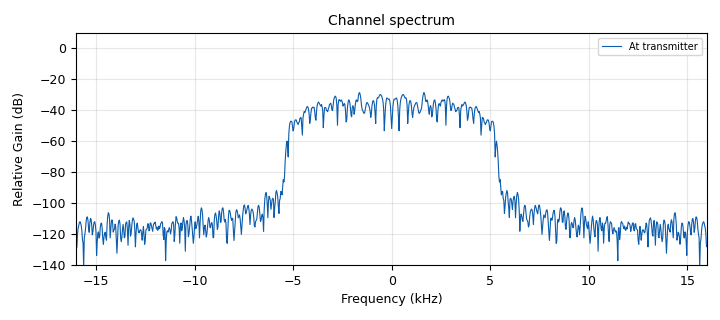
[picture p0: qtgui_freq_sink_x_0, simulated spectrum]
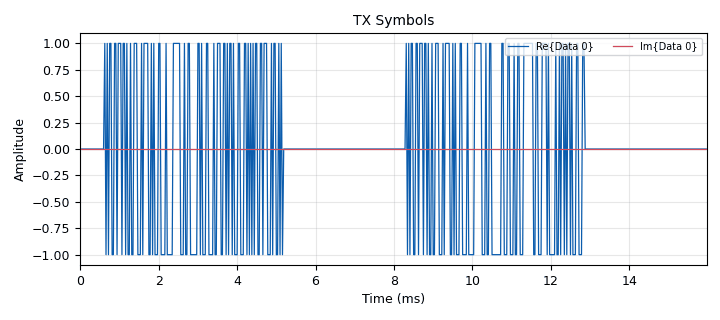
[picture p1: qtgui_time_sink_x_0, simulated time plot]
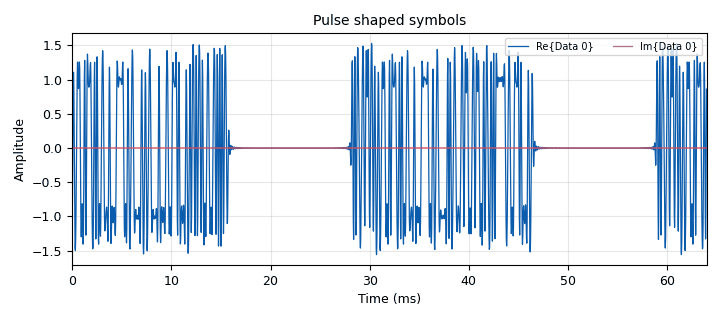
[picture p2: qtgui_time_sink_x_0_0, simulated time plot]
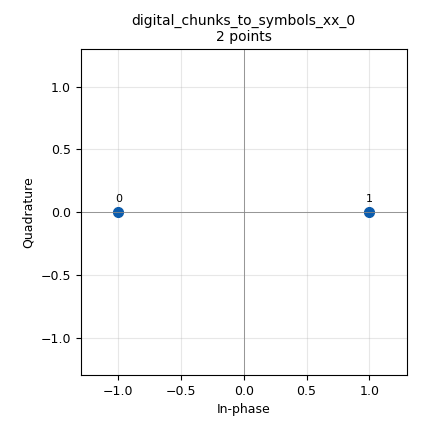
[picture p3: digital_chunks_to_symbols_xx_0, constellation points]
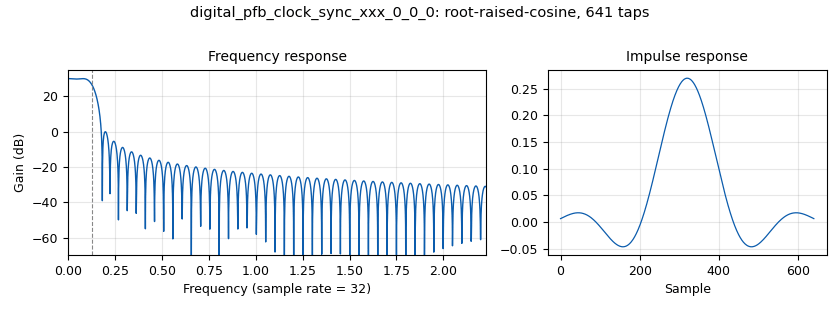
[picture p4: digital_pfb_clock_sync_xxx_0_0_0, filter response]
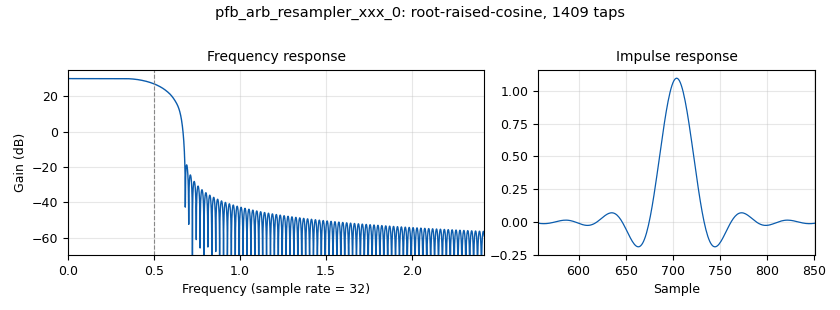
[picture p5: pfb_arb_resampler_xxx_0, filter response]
<?xml version='1.0' encoding='utf-8'?>
<?grc format='1' created='3.7.11'?>
<flow_graph>
<block>
<key>options</key>
<param><key>id</key><value>chain_custom</value></param>
<param><key>category</key><value>Custom</value></param>
<param><key>generate_options</key><value>qt_gui</value></param>
</block>
<block>
<key>variable</key>
<param><key>id</key><value>constel_header</value></param>
<param><key>value</key><value>digital.constellation_bpsk()</value></param>
</block>
<block>
<key>variable</key>
<param><key>id</key><value>constel_payload</value></param>
<param><key>value</key><value>digital.constellation_bpsk()</value></param>
</block>
<block>
<key>variable</key>
<param><key>id</key><value>eb</value></param>
<param><key>value</key><value>0.35</value></param>
</block>
<block>
<key>variable_qtgui_range</key>
<param><key>id</key><value>freq_offset</value></param>
<param><key>value</key><value>0</value></param>
<param><key>gui_hint</key><value>21,0,1,1</value></param>
<param><key>label</key><value>Frequency Offset</value></param>
<param><key>orient</key><value>Qt.Horizontal</value></param>
<param><key>start</key><value>-0.1</value></param>
<param><key>step</key><value>0.0001</value></param>
<param><key>stop</key><value>0.1</value></param>
<param><key>widget</key><value>slider</value></param>
</block>
<block>
<key>variable_qtgui_label</key>
<param><key>id</key><value>freq_offset_label</value></param>
<param><key>value</key><value>freq_offset</value></param>
<param><key>gui_hint</key><value>21,1,1,1</value></param>
<param><key>label</key><value>Freq offset label</value></param>
<param><key>type</key><value>real</value></param>
</block>
<block>
<key>variable</key>
<param><key>id</key><value>header_formatter</value></param>
<param><key>value</key><value>digital.packet_header_default(32/constel_header.bits_per_symbol(), "packet_len", "packet_num", constel_header.bits_per_symbol())</value></param>
</block>
<block>
<key>variable</key>
<param><key>id</key><value>nfilts</value></param>
<param><key>value</key><value>32</value></param>
</block>
<block>
<key>variable_qtgui_range</key>
<param><key>id</key><value>noise</value></param>
<param><key>value</key><value>0.01</value></param>
<param><key>gui_hint</key><value>20,0,1,1</value></param>
<param><key>label</key><value>Noise</value></param>
<param><key>orient</key><value>Qt.Horizontal</value></param>
<param><key>start</key><value>0</value></param>
<param><key>step</key><value>0.005</value></param>
<param><key>stop</key><value>1</value></param>
<param><key>widget</key><value>slider</value></param>
</block>
<block>
<key>variable_qtgui_label</key>
<param><key>id</key><value>noise_label</value></param>
<param><key>value</key><value>noise</value></param>
<param><key>gui_hint</key><value>20,1,1,1</value></param>
<param><key>label</key><value>Noise</value></param>
<param><key>type</key><value>real</value></param>
</block>
<block>
<key>variable</key>
<param><key>id</key><value>preamble</value></param>
<param><key>value</key><value>[1,-1,1,-1,1,1,-1,-1,1,1,-1,1,1,1,-1,1,1,-1,1,-1,-1,1,-1,-1,1,1,1,-1,-1,-1,1,-1,1,1,1,1,-1,-1,1,-1,1,-1,-1,-1,1,1,-1,-1,-1,-1,1,-1,-1,-1,-1,-1,1,1,1,1,1,1,-1,-1]</value></param>
</block>
<block>
<key>variable</key>
<param><key>id</key><value>rrc_taps</value></param>
<param><key>value</key><value>firdes.root_raised_cosine(nfilts, nfilts, 1.0, eb, 11*sps*nfilts)</value></param>
</block>
<block>
<key>variable</key>
<param><key>id</key><value>rrc_taps_rx</value></param>
<param><key>value</key><value>firdes.root_raised_cosine(nfilts, nfilts, 1.0/float(sps), eb, 5*sps*nfilts)</value></param>
</block>
<block>
<key>variable</key>
<param><key>id</key><value>rxshape</value></param>
<param><key>value</key><value>filter.pfb_arb_resampler_ccf(sps,  rrc_taps , 32) </value></param>
</block>
<block>
<key>variable_qtgui_range</key>
<param><key>id</key><value>samp_rate</value></param>
<param><key>value</key><value>32000</value></param>
<param><key>gui_hint</key><value>0,0,1,1</value></param>
<param><key>label</key><value>Sample rate</value></param>
<param><key>min_len</key><value>100</value></param>
<param><key>orient</key><value>Qt.Horizontal</value></param>
<param><key>start</key><value>1</value></param>
<param><key>step</key><value>10</value></param>
<param><key>stop</key><value>256000</value></param>
<param><key>rangeType</key><value>int</value></param>
<param><key>widget</key><value>slider</value></param>
</block>
<block>
<key>variable_qtgui_label</key>
<param><key>id</key><value>samp_rate_label</value></param>
<param><key>value</key><value>samp_rate</value></param>
<param><key>gui_hint</key><value>0,1,1,1</value></param>
<param><key>label</key><value>Sample rate</value></param>
<param><key>type</key><value>int</value></param>
</block>
<block>
<key>variable_pulseshape_vector</key>
<param><key>id</key><value>shaped_preamble</value></param>
<param><key>data</key><value>preamble</value></param>
<param><key>pulseshaper</key><value>rxshape</value></param>
</block>
<block>
<key>variable</key>
<param><key>id</key><value>sps</value></param>
<param><key>value</key><value>4</value></param>
</block>
<block>
<key>variable_qtgui_range</key>
<param><key>id</key><value>time_offset</value></param>
<param><key>value</key><value>1</value></param>
<param><key>gui_hint</key><value>20,2,1,1</value></param>
<param><key>label</key><value>Timing Offset</value></param>
<param><key>orient</key><value>Qt.Horizontal</value></param>
<param><key>start</key><value>0.995</value></param>
<param><key>step</key><value>0.00001</value></param>
<param><key>stop</key><value>1.005</value></param>
<param><key>widget</key><value>slider</value></param>
</block>
<block>
<key>variable_qtgui_label</key>
<param><key>id</key><value>time_offset_label</value></param>
<param><key>value</key><value>time_offset</value></param>
<param><key>gui_hint</key><value>20,3,1,1</value></param>
<param><key>label</key><value>Timing offset</value></param>
<param><key>type</key><value>real</value></param>
</block>
<block>
<key>variable</key>
<param><key>id</key><value>zero_padding</value></param>
<param><key>value</key><value>100</value></param>
</block>
<block>
<key>analog_agc2_xx</key>
<param><key>id</key><value>analog_agc2_xx_0_0_0_0</value></param>
<param><key>attack_rate</key><value>1e-3</value></param>
<param><key>decay_rate</key><value>1e-4</value></param>
<param><key>gain</key><value>0.7</value></param>
<param><key>max_gain</key><value>5</value></param>
<param><key>reference</key><value>0.7</value></param>
<param><key>type</key><value>complex</value></param>
</block>
<block>
<key>analog_random_source_x</key>
<param><key>id</key><value>analog_random_source_x_0</value></param>
<param><key>max</key><value>256</value></param>
<param><key>min</key><value>0</value></param>
<param><key>num_samps</key><value>10</value></param>
<param><key>type</key><value>byte</value></param>
<param><key>repeat</key><value>True</value></param>
</block>
<block>
<key>blocks_char_to_float</key>
<param><key>id</key><value>blocks_char_to_float_0</value></param>
<param><key>scale</key><value>1</value></param>
</block>
<block>
<key>blocks_char_to_float</key>
<param><key>id</key><value>blocks_char_to_float_1</value></param>
<param><key>scale</key><value>1</value></param>
</block>
<block>
<key>blocks_char_to_float</key>
<param><key>id</key><value>blocks_char_to_float_1_0</value></param>
<param><key>scale</key><value>1</value></param>
</block>
<block>
<key>blocks_complex_to_mag</key>
<param><key>id</key><value>blocks_complex_to_mag_0</value></param>
</block>
<block>
<key>blocks_message_debug</key>
<param><key>id</key><value>blocks_message_debug_0</value></param>
</block>
<block>
<key>blocks_null_source</key>
<param><key>id</key><value>blocks_null_source_0</value></param>
<param><key>bus_conns</key><value>[[0,],]</value></param>
<param><key>type</key><value>complex</value></param>
</block>
<block>
<key>blocks_repack_bits_bb</key>
<param><key>id</key><value>blocks_repack_bits_bb_0</value></param>
<param><key>k</key><value>1</value></param>
<param><key>l</key><value>constel_payload.bits_per_symbol()</value></param>
<param><key>endianness</key><value>gr.GR_MSB_FIRST</value></param>
</block>
<block>
<key>blocks_repack_bits_bb</key>
<param><key>id</key><value>blocks_repack_bits_bb_0_1</value></param>
<param><key>k</key><value>8</value></param>
<param><key>l</key><value>1</value></param>
<param><key>endianness</key><value>gr.GR_LSB_FIRST</value></param>
<param><key>len_tag_key</key><value></value></param>
</block>
<block>
<key>blocks_repack_bits_bb</key>
<param><key>id</key><value>blocks_repack_bits_bb_0_2</value></param>
<param><key>k</key><value>1</value></param>
<param><key>l</key><value>8</value></param>
<param><key>endianness</key><value>gr.GR_LSB_FIRST</value></param>
<param><key>len_tag_key</key><value></value></param>
</block>
<block>
<key>blocks_repack_bits_bb</key>
<param><key>id</key><value>blocks_repack_bits_bb_1</value></param>
<param><key>k</key><value>constel_payload.bits_per_symbol()</value></param>
<param><key>l</key><value>1</value></param>
<param><key>endianness</key><value>gr.GR_MSB_FIRST</value></param>
</block>
<block>
<key>blocks_stream_to_tagged_stream</key>
<param><key>id</key><value>blocks_stream_to_tagged_stream_0</value></param>
<param><key>len_tag_key</key><value>"packet_len"</value></param>
<param><key>packet_len</key><value>50</value></param>
<param><key>type</key><value>byte</value></param>
</block>
<block>
<key>blocks_stream_to_tagged_stream</key>
<param><key>id</key><value>blocks_stream_to_tagged_stream_0_0_0</value></param>
<param><key>len_tag_key</key><value>"packet_len"</value></param>
<param><key>packet_len</key><value>zero_padding</value></param>
<param><key>type</key><value>complex</value></param>
</block>
<block>
<key>blocks_stream_to_tagged_stream</key>
<param><key>id</key><value>blocks_stream_to_tagged_stream_1</value></param>
<param><key>len_tag_key</key><value>"packet_len"</value></param>
<param><key>packet_len</key><value>len(preamble)</value></param>
<param><key>type</key><value>complex</value></param>
</block>
<block>
<key>blocks_tagged_stream_mux</key>
<param><key>id</key><value>blocks_tagged_stream_mux_0</value></param>
<param><key>type</key><value>complex</value></param>
<param><key>lengthtagname</key><value>packet_len</value></param>
<param><key>ninputs</key><value>4</value></param>
</block>
<block>
<key>blocks_throttle</key>
<param><key>id</key><value>blocks_throttle_0</value></param>
<param><key>samples_per_second</key><value>samp_rate</value></param>
<param><key>type</key><value>complex</value></param>
</block>
<block>
<key>blocks_vector_source_x</key>
<param><key>id</key><value>blocks_vector_source_x_0</value></param>
<param><key>type</key><value>complex</value></param>
<param><key>repeat</key><value>True</value></param>
<param><key>vector</key><value>preamble</value></param>
</block>
<block>
<key>channels_channel_model</key>
<param><key>id</key><value>channels_channel_model_0</value></param>
<param><key>block_tags</key><value>True</value></param>
<param><key>epsilon</key><value>time_offset</value></param>
<param><key>freq_offset</key><value>freq_offset</value></param>
<param><key>noise_voltage</key><value>noise</value></param>
<param><key>seed</key><value>0</value></param>
<param><key>taps</key><value>1.0</value></param>
</block>
<block>
<key>digital_binary_slicer_fb</key>
<param><key>id</key><value>digital_binary_slicer_fb_0</value></param>
</block>
<block>
<key>digital_chunks_to_symbols_xx</key>
<param><key>id</key><value>digital_chunks_to_symbols_xx_0</value></param>
<param><key>dimension</key><value>1</value></param>
<param><key>in_type</key><value>byte</value></param>
<param><key>out_type</key><value>complex</value></param>
<param><key>symbol_table</key><value>constel_header.points()</value></param>
</block>
<block>
<key>digital_chunks_to_symbols_xx</key>
<param><key>id</key><value>digital_chunks_to_symbols_xx_0_0</value></param>
<param><key>dimension</key><value>1</value></param>
<param><key>in_type</key><value>byte</value></param>
<param><key>out_type</key><value>complex</value></param>
<param><key>symbol_table</key><value>constel_payload.points()</value></param>
</block>
<block>
<key>digital_constellation_decoder_cb</key>
<param><key>id</key><value>digital_constellation_decoder_cb_0</value></param>
<param><key>constellation</key><value>constel_header.base()</value></param>
</block>
<block>
<key>digital_constellation_decoder_cb</key>
<param><key>id</key><value>digital_constellation_decoder_cb_1</value></param>
<param><key>constellation</key><value>constel_payload.base()</value></param>
</block>
<block>
<key>digital_constellation_soft_decoder_cf</key>
<param><key>id</key><value>digital_constellation_soft_decoder_cf_0</value></param>
<param><key>constellation</key><value>constel_payload.base()</value></param>
</block>
<block>
<key>digital_costas_loop_cc</key>
<param><key>id</key><value>digital_costas_loop_cc_0</value></param>
<param><key>w</key><value>3.14*2/100</value></param>
<param><key>order</key><value>2**constel_header.bits_per_symbol()</value></param>
</block>
<block>
<key>digital_costas_loop_cc</key>
<param><key>id</key><value>digital_costas_loop_cc_0_0</value></param>
<param><key>w</key><value>3.14*2/100</value></param>
<param><key>order</key><value>2**constel_header.bits_per_symbol()</value></param>
</block>
<block>
<key>digital_packet_headergenerator_bb</key>
<param><key>id</key><value>digital_packet_headergenerator_bb_0</value></param>
<param><key>header_formatter</key><value>header_formatter</value></param>
<param><key>len_tag_key</key><value>"packet_len"</value></param>
</block>
<block>
<key>digital_packet_headerparser_b</key>
<param><key>id</key><value>digital_packet_headerparser_b_0</value></param>
<param><key>header_formatter</key><value>header_formatter.base()</value></param>
</block>
<block>
<key>digital_pfb_clock_sync_xxx</key>
<param><key>id</key><value>digital_pfb_clock_sync_xxx_0_0_0</value></param>
<param><key>filter_size</key><value>32</value></param>
<param><key>init_phase</key><value>0</value></param>
<param><key>loop_bw</key><value>3.14*2/100</value></param>
<param><key>max_dev</key><value>1.5</value></param>
<param><key>osps</key><value>1</value></param>
<param><key>sps</key><value>sps</value></param>
<param><key>taps</key><value>rrc_taps_rx</value></param>
<param><key>type</key><value>ccf</value></param>
</block>
<block>
<key>import</key>
<param><key>id</key><value>import_0</value></param>
<param><key>import</key><value>from gnuradio import digital</value></param>
</block>
<block>
<key>import</key>
<param><key>id</key><value>import_0_0</value></param>
<param><key>import</key><value>from gnuradio import filter</value></param>
</block>
<block>
<key>note</key>
<param><key>id</key><value>note_0</value></param>
<param><key>note</key><value>packet_len is defined here in bits. In the transmitted message it will be as symbols due to limitations in the header_payload_demux block</value></param>
</block>
<block>
<key>note</key>
<param><key>id</key><value>note_1</value></param>
<param><key>note</key><value>tag markin delay is found empirically. 89 when using FLL Band-edge with filter size 44, 100 without</value></param>
</block>
<block>
<key>packetizer_corr_est_cc</key>
<param><key>id</key><value>packetizer_corr_est_cc_0</value></param>
<param><key>absolute_threshold</key><value>0.50</value></param>
<param><key>sps</key><value>4</value></param>
<param><key>symbols</key><value>shaped_preamble</value></param>
<param><key>mark_delay</key><value>100</value></param>
<param><key>threshold</key><value>0.9999995</value></param>
<param><key>verbose</key><value>False</value></param>
</block>
<block>
<key>packetizr_preamble_header_payload_demux</key>
<param><key>id</key><value>packetizr_preamble_header_payload_demux_0</value></param>
<param><key>guard_interval</key><value>0</value></param>
<param><key>header_len</key><value>32/constel_header.bits_per_symbol()</value></param>
<param><key>header_padding</key><value>0</value></param>
<param><key>type</key><value>complex</value></param>
<param><key>items_per_symbol</key><value>1</value></param>
<param><key>length_tag_key</key><value>"packet_len"</value></param>
<param><key>output_symbols</key><value>True</value></param>
<param><key>preamble_len</key><value>len(preamble)</value></param>
<param><key>samp_rate</key><value>samp_rate</value></param>
<param><key>special_tags</key><value>()</value></param>
<param><key>timing_tag_key</key><value></value></param>
<param><key>trigger_tag_key</key><value>"corr_est"</value></param>
</block>
<block>
<key>pfb_arb_resampler_xxx</key>
<param><key>id</key><value>pfb_arb_resampler_xxx_0</value></param>
<param><key>nfilts</key><value>32</value></param>
<param><key>rrate</key><value>sps</value></param>
<param><key>atten</key><value>100</value></param>
<param><key>taps</key><value>rrc_taps</value></param>
<param><key>type</key><value>ccf</value></param>
</block>
<block>
<key>qtgui_const_sink_x</key>
<param><key>id</key><value>qtgui_const_sink_x_0</value></param>
<param><key>gui_hint</key><value>8,0,1,2</value></param>
<param><key>name</key><value>"Payload constellations before phase sync"</value></param>
<param><key>size</key><value>1024</value></param>
<param><key>type</key><value>complex</value></param>
</block>
<block>
<key>qtgui_const_sink_x</key>
<param><key>id</key><value>qtgui_const_sink_x_0_0</value></param>
<param><key>_enabled</key><value>0</value></param>
<param><key>name</key><value>"RX  Header Constellations"</value></param>
<param><key>size</key><value>1024</value></param>
<param><key>type</key><value>complex</value></param>
</block>
<block>
<key>qtgui_const_sink_x</key>
<param><key>id</key><value>qtgui_const_sink_x_1</value></param>
<param><key>gui_hint</key><value>8,2,1,2</value></param>
<param><key>name</key><value>"Payload constellations after phase sync"</value></param>
<param><key>size</key><value>1024</value></param>
<param><key>type</key><value>complex</value></param>
</block>
<block>
<key>qtgui_freq_sink_x</key>
<param><key>id</key><value>qtgui_freq_sink_x_0</value></param>
<param><key>bw</key><value>samp_rate</value></param>
<param><key>fc</key><value>0</value></param>
<param><key>fftsize</key><value>1024</value></param>
<param><key>gui_hint</key><value>7,0,1,2</value></param>
<param><key>label1</key><value>"At transmitter"</value></param>
<param><key>name</key><value>"Channel spectrum"</value></param>
<param><key>showports</key><value>True</value></param>
<param><key>type</key><value>complex</value></param>
<param><key>wintype</key><value>firdes.WIN_BLACKMAN_hARRIS</value></param>
</block>
<block>
<key>qtgui_time_sink_x</key>
<param><key>id</key><value>qtgui_time_sink_x_0</value></param>
<param><key>autoscale</key><value>True</value></param>
<param><key>entags</key><value>False</value></param>
<param><key>gui_hint</key><value>4,0,1,2</value></param>
<param><key>color1</key><value>"blue"</value></param>
<param><key>label1</key><value></value></param>
<param><key>color2</key><value>"red"</value></param>
<param><key>label2</key><value></value></param>
<param><key>name</key><value>"TX Symbols"</value></param>
<param><key>size</key><value>512</value></param>
<param><key>srate</key><value>samp_rate</value></param>
<param><key>type</key><value>complex</value></param>
<param><key>ymax</key><value>1.5</value></param>
<param><key>ymin</key><value>-1.5</value></param>
</block>
<block>
<key>qtgui_time_sink_x</key>
<param><key>id</key><value>qtgui_time_sink_x_0_0</value></param>
<param><key>autoscale</key><value>True</value></param>
<param><key>entags</key><value>False</value></param>
<param><key>gui_hint</key><value>4,2,1,2</value></param>
<param><key>color1</key><value>"blue"</value></param>
<param><key>label1</key><value></value></param>
<param><key>color2</key><value>"red"</value></param>
<param><key>label2</key><value></value></param>
<param><key>name</key><value>"Pulse shaped symbols"</value></param>
<param><key>size</key><value>512*4</value></param>
<param><key>srate</key><value>samp_rate</value></param>
<param><key>type</key><value>complex</value></param>
<param><key>ymax</key><value>1.5</value></param>
<param><key>ymin</key><value>-1.5</value></param>
</block>
<block>
<key>qtgui_time_sink_x</key>
<param><key>id</key><value>qtgui_time_sink_x_0_0_0</value></param>
<param><key>color1</key><value>"blue"</value></param>
<param><key>label1</key><value></value></param>
<param><key>color2</key><value>"red"</value></param>
<param><key>label2</key><value></value></param>
<param><key>name</key><value>"RX Symbols"</value></param>
<param><key>size</key><value>1024</value></param>
<param><key>srate</key><value>samp_rate</value></param>
<param><key>type</key><value>complex</value></param>
</block>
<block>
<key>qtgui_time_sink_x</key>
<param><key>id</key><value>qtgui_time_sink_x_0_1_0_0_0_0_0</value></param>
<param><key>autoscale</key><value>True</value></param>
<param><key>gui_hint</key><value>5,0,1,2</value></param>
<param><key>color1</key><value>"blue"</value></param>
<param><key>label1</key><value></value></param>
<param><key>color2</key><value>"red"</value></param>
<param><key>label2</key><value></value></param>
<param><key>name</key><value>"RX Correlated Stream"</value></param>
<param><key>size</key><value>5000</value></param>
<param><key>srate</key><value>samp_rate</value></param>
<param><key>tr_tag</key><value>"corr_est"</value></param>
<param><key>type</key><value>complex</value></param>
</block>
<block>
<key>qtgui_time_sink_x</key>
<param><key>id</key><value>qtgui_time_sink_x_0_1_0_0_0_0_0_0</value></param>
<param><key>autoscale</key><value>True</value></param>
<param><key>gui_hint</key><value>5,2,1,2</value></param>
<param><key>color1</key><value>"blue"</value></param>
<param><key>label1</key><value></value></param>
<param><key>name</key><value>"RX Correlation Magnitude"</value></param>
<param><key>size</key><value>5000</value></param>
<param><key>srate</key><value>samp_rate</value></param>
<param><key>tr_tag</key><value>"corr_est"</value></param>
<param><key>type</key><value>float</value></param>
</block>
<block>
<key>qtgui_time_sink_x</key>
<param><key>id</key><value>qtgui_time_sink_x_0_1_0_0_1</value></param>
<param><key>_enabled</key><value>0</value></param>
<param><key>color1</key><value>"blue"</value></param>
<param><key>label1</key><value></value></param>
<param><key>color2</key><value>"red"</value></param>
<param><key>label2</key><value></value></param>
<param><key>name</key><value>"RX  Demux Header Stream"</value></param>
<param><key>size</key><value>1024</value></param>
<param><key>srate</key><value>samp_rate</value></param>
<param><key>type</key><value>complex</value></param>
<param><key>ymax</key><value>100</value></param>
<param><key>ymin</key><value>-100</value></param>
</block>
<block>
<key>qtgui_time_sink_x</key>
<param><key>id</key><value>qtgui_time_sink_x_0_1_0_0_1_0</value></param>
<param><key>_enabled</key><value>0</value></param>
<param><key>color1</key><value>"blue"</value></param>
<param><key>label1</key><value></value></param>
<param><key>color2</key><value>"red"</value></param>
<param><key>label2</key><value></value></param>
<param><key>name</key><value>"RX  Demux Payload Stream"</value></param>
<param><key>size</key><value>1024</value></param>
<param><key>srate</key><value>samp_rate</value></param>
<param><key>type</key><value>complex</value></param>
<param><key>ymax</key><value>100</value></param>
<param><key>ymin</key><value>-100</value></param>
</block>
<block>
<key>qtgui_time_sink_x</key>
<param><key>id</key><value>qtgui_time_sink_x_0_1_0_0_2_0</value></param>
<param><key>gui_hint</key><value>6,0,1,2</value></param>
<param><key>color1</key><value>"blue"</value></param>
<param><key>label1</key><value></value></param>
<param><key>color2</key><value>"red"</value></param>
<param><key>label2</key><value></value></param>
<param><key>name</key><value>"RX  Polyphased Stream"</value></param>
<param><key>size</key><value>1024</value></param>
<param><key>srate</key><value>samp_rate</value></param>
<param><key>tr_mode</key><value>qtgui.TRIG_MODE_TAG</value></param>
<param><key>tr_tag</key><value>"corr_est"</value></param>
<param><key>type</key><value>complex</value></param>
<param><key>ymax</key><value>4</value></param>
<param><key>ymin</key><value>-4</value></param>
</block>
<block>
<key>qtgui_time_sink_x</key>
<param><key>id</key><value>qtgui_time_sink_x_1</value></param>
<param><key>gui_hint</key><value>3,0,1,4</value></param>
<param><key>color1</key><value>"blue"</value></param>
<param><key>label1</key><value>"Source data"</value></param>
<param><key>color2</key><value>"red"</value></param>
<param><key>label2</key><value>"Soft decoded data"</value></param>
<param><key>color3</key><value>"green"</value></param>
<param><key>label3</key><value>"Hard decoded data"</value></param>
<param><key>name</key><value>"In/out comparison"</value></param>
<param><key>nconnections</key><value>3</value></param>
<param><key>size</key><value>512</value></param>
<param><key>srate</key><value>samp_rate</value></param>
<param><key>type</key><value>float</value></param>
<param><key>ymax</key><value>1.5</value></param>
<param><key>ymin</key><value>-0.5</value></param>
</block>
<block>
<key>virtual_sink</key>
<param><key>id</key><value>virtual_sink_0</value></param>
<param><key>stream_id</key><value>tx_symbol_stream</value></param>
</block>
<block>
<key>virtual_sink</key>
<param><key>id</key><value>virtual_sink_0_0</value></param>
<param><key>stream_id</key><value>rx_stream</value></param>
</block>
<block>
<key>virtual_sink</key>
<param><key>id</key><value>virtual_sink_1_0</value></param>
<param><key>stream_id</key><value>src_data</value></param>
</block>
<block>
<key>virtual_sink</key>
<param><key>id</key><value>virtual_sink_1_0_0</value></param>
<param><key>stream_id</key><value>tx_stream</value></param>
</block>
<block>
<key>virtual_sink</key>
<param><key>id</key><value>virtual_sink_1_0_0_0_0</value></param>
<param><key>stream_id</key><value>rx_symbol_stream</value></param>
</block>
<block>
<key>virtual_sink</key>
<param><key>id</key><value>virtual_sink_2</value></param>
<param><key>stream_id</key><value>snk_data_soft</value></param>
</block>
<block>
<key>virtual_sink</key>
<param><key>id</key><value>virtual_sink_2_0</value></param>
<param><key>stream_id</key><value>snk_data</value></param>
</block>
<block>
<key>virtual_sink</key>
<param><key>id</key><value>virtual_sink_3</value></param>
<param><key>stream_id</key><value>header_data</value></param>
</block>
<block>
<key>virtual_source</key>
<param><key>id</key><value>virtual_source_0</value></param>
<param><key>stream_id</key><value>src_data</value></param>
</block>
<block>
<key>virtual_source</key>
<param><key>id</key><value>virtual_source_0_0</value></param>
<param><key>stream_id</key><value>tx_symbol_stream</value></param>
</block>
<block>
<key>virtual_source</key>
<param><key>id</key><value>virtual_source_1</value></param>
<param><key>stream_id</key><value>rx_symbol_stream</value></param>
</block>
<block>
<key>virtual_source</key>
<param><key>id</key><value>virtual_source_1_0</value></param>
<param><key>stream_id</key><value>tx_stream</value></param>
</block>
<block>
<key>virtual_source</key>
<param><key>id</key><value>virtual_source_1_0_0</value></param>
<param><key>stream_id</key><value>rx_stream</value></param>
</block>
<block>
<key>virtual_source</key>
<param><key>id</key><value>virtual_source_2</value></param>
<param><key>stream_id</key><value>snk_data</value></param>
</block>
<block>
<key>virtual_source</key>
<param><key>id</key><value>virtual_source_2_0</value></param>
<param><key>stream_id</key><value>snk_data_soft</value></param>
</block>
<block>
<key>virtual_source</key>
<param><key>id</key><value>virtual_source_3</value></param>
<param><key>stream_id</key><value>header_data</value></param>
</block>
<block>
<key>virtual_source</key>
<param><key>id</key><value>virtual_source_4</value></param>
<param><key>stream_id</key><value>src_data</value></param>
</block>
<connection><source_block_id>analog_agc2_xx_0_0_0_0</source_block_id><sink_block_id>packetizer_corr_est_cc_0</sink_block_id><source_key>0</source_key><sink_key>0</sink_key></connection>
<connection><source_block_id>analog_random_source_x_0</source_block_id><sink_block_id>blocks_repack_bits_bb_0_1</sink_block_id><source_key>0</source_key><sink_key>0</sink_key></connection>
<connection><source_block_id>blocks_char_to_float_0</source_block_id><sink_block_id>qtgui_time_sink_x_1</sink_block_id><source_key>0</source_key><sink_key>0</sink_key></connection>
<connection><source_block_id>blocks_char_to_float_1</source_block_id><sink_block_id>virtual_sink_2</sink_block_id><source_key>0</source_key><sink_key>0</sink_key></connection>
<connection><source_block_id>blocks_char_to_float_1_0</source_block_id><sink_block_id>qtgui_time_sink_x_1</sink_block_id><source_key>0</source_key><sink_key>2</sink_key></connection>
<connection><source_block_id>blocks_complex_to_mag_0</source_block_id><sink_block_id>qtgui_time_sink_x_0_1_0_0_0_0_0_0</sink_block_id><source_key>0</source_key><sink_key>0</sink_key></connection>
<connection><source_block_id>blocks_null_source_0</source_block_id><sink_block_id>blocks_stream_to_tagged_stream_0_0_0</sink_block_id><source_key>0</source_key><sink_key>0</sink_key></connection>
<connection><source_block_id>blocks_repack_bits_bb_0</source_block_id><sink_block_id>digital_chunks_to_symbols_xx_0_0</sink_block_id><source_key>0</source_key><sink_key>0</sink_key></connection>
<connection><source_block_id>blocks_repack_bits_bb_0_1</source_block_id><sink_block_id>blocks_stream_to_tagged_stream_0</sink_block_id><source_key>0</source_key><sink_key>0</sink_key></connection>
<connection><source_block_id>blocks_repack_bits_bb_0_2</source_block_id><sink_block_id>digital_packet_headergenerator_bb_0</sink_block_id><source_key>0</source_key><sink_key>0</sink_key></connection>
<connection><source_block_id>blocks_repack_bits_bb_1</source_block_id><sink_block_id>virtual_sink_2_0</sink_block_id><source_key>0</source_key><sink_key>0</sink_key></connection>
<connection><source_block_id>blocks_stream_to_tagged_stream_0</source_block_id><sink_block_id>virtual_sink_1_0</sink_block_id><source_key>0</source_key><sink_key>0</sink_key></connection>
<connection><source_block_id>blocks_stream_to_tagged_stream_0_0_0</source_block_id><sink_block_id>blocks_tagged_stream_mux_0</sink_block_id><source_key>0</source_key><sink_key>3</sink_key></connection>
<connection><source_block_id>blocks_stream_to_tagged_stream_1</source_block_id><sink_block_id>blocks_tagged_stream_mux_0</sink_block_id><source_key>0</source_key><sink_key>0</sink_key></connection>
<connection><source_block_id>blocks_tagged_stream_mux_0</source_block_id><sink_block_id>virtual_sink_0</sink_block_id><source_key>0</source_key><sink_key>0</sink_key></connection>
<connection><source_block_id>blocks_throttle_0</source_block_id><sink_block_id>channels_channel_model_0</sink_block_id><source_key>0</source_key><sink_key>0</sink_key></connection>
<connection><source_block_id>blocks_throttle_0</source_block_id><sink_block_id>qtgui_freq_sink_x_0</sink_block_id><source_key>0</source_key><sink_key>0</sink_key></connection>
<connection><source_block_id>blocks_vector_source_x_0</source_block_id><sink_block_id>blocks_stream_to_tagged_stream_1</sink_block_id><source_key>0</source_key><sink_key>0</sink_key></connection>
<connection><source_block_id>channels_channel_model_0</source_block_id><sink_block_id>virtual_sink_0_0</sink_block_id><source_key>0</source_key><sink_key>0</sink_key></connection>
<connection><source_block_id>digital_binary_slicer_fb_0</source_block_id><sink_block_id>blocks_char_to_float_1</sink_block_id><source_key>0</source_key><sink_key>0</sink_key></connection>
<connection><source_block_id>digital_chunks_to_symbols_xx_0</source_block_id><sink_block_id>blocks_tagged_stream_mux_0</sink_block_id><source_key>0</source_key><sink_key>1</sink_key></connection>
<connection><source_block_id>digital_chunks_to_symbols_xx_0_0</source_block_id><sink_block_id>blocks_tagged_stream_mux_0</sink_block_id><source_key>0</source_key><sink_key>2</sink_key></connection>
<connection><source_block_id>digital_constellation_decoder_cb_0</source_block_id><sink_block_id>digital_packet_headerparser_b_0</sink_block_id><source_key>0</source_key><sink_key>0</sink_key></connection>
<connection><source_block_id>digital_constellation_decoder_cb_1</source_block_id><sink_block_id>blocks_repack_bits_bb_1</sink_block_id><source_key>0</source_key><sink_key>0</sink_key></connection>
<connection><source_block_id>digital_constellation_soft_decoder_cf_0</source_block_id><sink_block_id>digital_binary_slicer_fb_0</sink_block_id><source_key>0</source_key><sink_key>0</sink_key></connection>
<connection><source_block_id>digital_costas_loop_cc_0</source_block_id><sink_block_id>digital_constellation_decoder_cb_0</sink_block_id><source_key>0</source_key><sink_key>0</sink_key></connection>
<connection><source_block_id>digital_costas_loop_cc_0</source_block_id><sink_block_id>qtgui_const_sink_x_0_0</sink_block_id><source_key>0</source_key><sink_key>0</sink_key></connection>
<connection><source_block_id>digital_costas_loop_cc_0</source_block_id><sink_block_id>qtgui_time_sink_x_0_1_0_0_1</sink_block_id><source_key>0</source_key><sink_key>0</sink_key></connection>
<connection><source_block_id>digital_costas_loop_cc_0_0</source_block_id><sink_block_id>digital_constellation_decoder_cb_1</sink_block_id><source_key>0</source_key><sink_key>0</sink_key></connection>
<connection><source_block_id>digital_costas_loop_cc_0_0</source_block_id><sink_block_id>digital_constellation_soft_decoder_cf_0</sink_block_id><source_key>0</source_key><sink_key>0</sink_key></connection>
<connection><source_block_id>digital_costas_loop_cc_0_0</source_block_id><sink_block_id>qtgui_const_sink_x_1</sink_block_id><source_key>0</source_key><sink_key>0</sink_key></connection>
<connection><source_block_id>digital_packet_headergenerator_bb_0</source_block_id><sink_block_id>digital_chunks_to_symbols_xx_0</sink_block_id><source_key>0</source_key><sink_key>0</sink_key></connection>
<connection><source_block_id>digital_packet_headerparser_b_0</source_block_id><sink_block_id>blocks_message_debug_0</sink_block_id><source_key>header_data</source_key><sink_key>print</sink_key></connection>
<connection><source_block_id>digital_packet_headerparser_b_0</source_block_id><sink_block_id>packetizr_preamble_header_payload_demux_0</sink_block_id><source_key>header_data</source_key><sink_key>header_data</sink_key></connection>
<connection><source_block_id>digital_pfb_clock_sync_xxx_0_0_0</source_block_id><sink_block_id>qtgui_time_sink_x_0_1_0_0_2_0</sink_block_id><source_key>0</source_key><sink_key>0</sink_key></connection>
<connection><source_block_id>digital_pfb_clock_sync_xxx_0_0_0</source_block_id><sink_block_id>virtual_sink_1_0_0_0_0</sink_block_id><source_key>0</source_key><sink_key>0</sink_key></connection>
<connection><source_block_id>packetizer_corr_est_cc_0</source_block_id><sink_block_id>blocks_complex_to_mag_0</sink_block_id><source_key>1</source_key><sink_key>0</sink_key></connection>
<connection><source_block_id>packetizer_corr_est_cc_0</source_block_id><sink_block_id>digital_pfb_clock_sync_xxx_0_0_0</sink_block_id><source_key>0</source_key><sink_key>0</sink_key></connection>
<connection><source_block_id>packetizer_corr_est_cc_0</source_block_id><sink_block_id>qtgui_time_sink_x_0_1_0_0_0_0_0</sink_block_id><source_key>0</source_key><sink_key>0</sink_key></connection>
<connection><source_block_id>packetizr_preamble_header_payload_demux_0</source_block_id><sink_block_id>virtual_sink_3</sink_block_id><source_key>0</source_key><sink_key>0</sink_key></connection>
<connection><source_block_id>packetizr_preamble_header_payload_demux_0</source_block_id><sink_block_id>digital_costas_loop_cc_0_0</sink_block_id><source_key>1</source_key><sink_key>0</sink_key></connection>
<connection><source_block_id>packetizr_preamble_header_payload_demux_0</source_block_id><sink_block_id>qtgui_const_sink_x_0</sink_block_id><source_key>1</source_key><sink_key>0</sink_key></connection>
<connection><source_block_id>packetizr_preamble_header_payload_demux_0</source_block_id><sink_block_id>qtgui_time_sink_x_0_1_0_0_1_0</sink_block_id><source_key>1</source_key><sink_key>0</sink_key></connection>
<connection><source_block_id>pfb_arb_resampler_xxx_0</source_block_id><sink_block_id>qtgui_time_sink_x_0_0</sink_block_id><source_key>0</source_key><sink_key>0</sink_key></connection>
<connection><source_block_id>pfb_arb_resampler_xxx_0</source_block_id><sink_block_id>virtual_sink_1_0_0</sink_block_id><source_key>0</source_key><sink_key>0</sink_key></connection>
<connection><source_block_id>virtual_source_0</source_block_id><sink_block_id>blocks_char_to_float_0</sink_block_id><source_key>0</source_key><sink_key>0</sink_key></connection>
<connection><source_block_id>virtual_source_0_0</source_block_id><sink_block_id>pfb_arb_resampler_xxx_0</sink_block_id><source_key>0</source_key><sink_key>0</sink_key></connection>
<connection><source_block_id>virtual_source_0_0</source_block_id><sink_block_id>qtgui_time_sink_x_0</sink_block_id><source_key>0</source_key><sink_key>0</sink_key></connection>
<connection><source_block_id>virtual_source_1</source_block_id><sink_block_id>packetizr_preamble_header_payload_demux_0</sink_block_id><source_key>0</source_key><sink_key>0</sink_key></connection>
<connection><source_block_id>virtual_source_1</source_block_id><sink_block_id>qtgui_time_sink_x_0_0_0</sink_block_id><source_key>0</source_key><sink_key>0</sink_key></connection>
<connection><source_block_id>virtual_source_1_0</source_block_id><sink_block_id>blocks_throttle_0</sink_block_id><source_key>0</source_key><sink_key>0</sink_key></connection>
<connection><source_block_id>virtual_source_1_0_0</source_block_id><sink_block_id>analog_agc2_xx_0_0_0_0</sink_block_id><source_key>0</source_key><sink_key>0</sink_key></connection>
<connection><source_block_id>virtual_source_2</source_block_id><sink_block_id>blocks_char_to_float_1_0</sink_block_id><source_key>0</source_key><sink_key>0</sink_key></connection>
<connection><source_block_id>virtual_source_2_0</source_block_id><sink_block_id>qtgui_time_sink_x_1</sink_block_id><source_key>0</source_key><sink_key>1</sink_key></connection>
<connection><source_block_id>virtual_source_3</source_block_id><sink_block_id>digital_costas_loop_cc_0</sink_block_id><source_key>0</source_key><sink_key>0</sink_key></connection>
<connection><source_block_id>virtual_source_4</source_block_id><sink_block_id>blocks_repack_bits_bb_0</sink_block_id><source_key>0</source_key><sink_key>0</sink_key></connection>
<connection><source_block_id>virtual_source_4</source_block_id><sink_block_id>blocks_repack_bits_bb_0_2</sink_block_id><source_key>0</source_key><sink_key>0</sink_key></connection>
</flow_graph>
